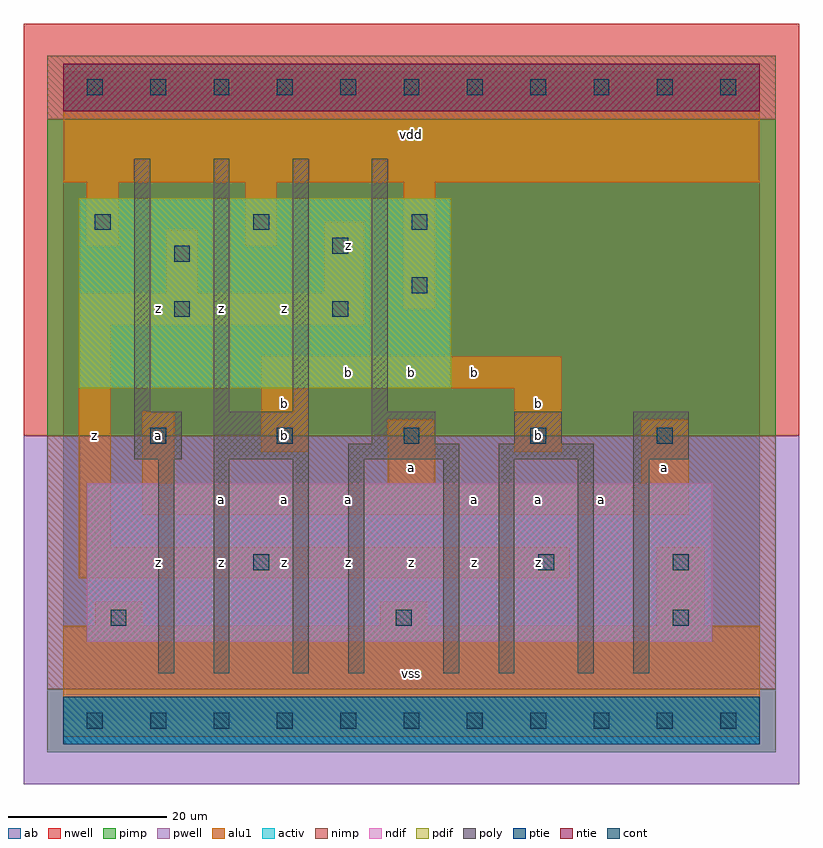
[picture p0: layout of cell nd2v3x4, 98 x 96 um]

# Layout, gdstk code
import gdstk
lib = gdstk.Library(unit=1e-6, precision=1e-09)
def R(c, l, rs):  # rectangles x0, y0, x1, y1
    for r in rs: c.add(gdstk.rectangle(r[:2], r[2:], *l))
def A(c, l, x, y, w, h, nx, ny, dx, dy):  # array of equal rectangles
    R(c, l, [(x+i*dx, y+j*dy, x+i*dx+w, y+j*dy+h) for i in range(nx) for j in range(ny)])
ndif = (3, 0)
pdif = (4, 0)
ntie = (5, 0)
ptie = (6, 0)
cont = (25, 0)
pwell = (41, 0)
nwell = (42, 0)
activ = (43, 0)
pimp = (44, 0)
nimp = (45, 0)
poly = (46, 0)
alu1 = (49, 0)
ab = (63, 0)

nd2v3x4 = lib.new_cell('nd2v3x4')
R(nd2v3x4, ndif, [(3,10,82,30)])
R(nd2v3x4, pdif, [(2,42,49,66)])
R(nd2v3x4, ntie, [(0,77,88,83)])
R(nd2v3x4, ptie, [(0,-3,88,3)])
A(nd2v3x4, cont, 3, -1, 2, 2, 11, 2, 8, 80)
A(nd2v3x4, cont, 11, 35, 2, 2, 5, 1, 16, 0)
A(nd2v3x4, cont, 4, 62, 2, 2, 3, 1, 20, 0)
R(nd2v3x4, cont, [(6,12,8,14), (42,12,44,14), (77,12,79,14), (24,19,26,21), (60,19,62,21), (77,19,79,21), (14,51,16,53), (34,51,36,53), (44,54,46,56), (14,58,16,60), (34,59,36,61)])
R(nd2v3x4, pwell, [(-5,-8,93,36)])
R(nd2v3x4, nwell, [(-5,36,93,88)])
R(nd2v3x4, activ, [(0,-3,88,3), (3,10,82,30), (2,42,49,66), (0,77,88,83)])
R(nd2v3x4, pimp, [(-2,-4,90,4), (-2,36,90,76)])
R(nd2v3x4, nimp, [(-2,4,90,36), (-2,76,90,84)])
A(nd2v3x4, poly, 9, 39, 2, 32, 4, 1, 10, 0)
R(nd2v3x4, poly, [(12,6,14,33), (19,6,21,33), (29,6,31,33), (36,6,38,33), (48,6,50,33), (55,6,57,33), (65,6,67,33), (72,6,74,33), (9,33,15,39), (19,33,31,39), (36,33,50,35), (55,33,67,35), (72,33,79,39), (39,35,47,39), (57,35,63,39)])
R(nd2v3x4, alu1, [(0,-2,88,12), (4,12,10,15), (40,12,46,15), (75,12,81,22), (2,18,64,22), (2,22,6,50), (10,26,79,30), (10,30,14,39), (41,30,47,38), (73,30,79,38), (25,34,31,42), (57,34,63,42), (25,42,63,46), (2,50,38,54), (43,52,47,68), (13,54,17,62), (33,54,38,63), (3,60,7,68), (23,60,27,68), (0,68,88,82)])
R(nd2v3x4, ab, [(0,0,88,80)])
nd2v3x4.add(gdstk.Label('z', (12,20), layer=49, texttype=0))
nd2v3x4.add(gdstk.Label('a', (12,36), layer=49, texttype=0))
nd2v3x4.add(gdstk.Label('z', (4,36), layer=49, texttype=0))
nd2v3x4.add(gdstk.Label('z', (12,52), layer=49, texttype=0))
nd2v3x4.add(gdstk.Label('z', (20,20), layer=49, texttype=0))
nd2v3x4.add(gdstk.Label('a', (20,28), layer=49, texttype=0))
nd2v3x4.add(gdstk.Label('z', (28,20), layer=49, texttype=0))
nd2v3x4.add(gdstk.Label('a', (28,28), layer=49, texttype=0))
nd2v3x4.add(gdstk.Label('b', (28,36), layer=49, texttype=0))
nd2v3x4.add(gdstk.Label('b', (28,40), layer=49, texttype=0))
nd2v3x4.add(gdstk.Label('z', (20,52), layer=49, texttype=0))
nd2v3x4.add(gdstk.Label('z', (28,52), layer=49, texttype=0))
nd2v3x4.add(gdstk.Label('vss', (44,6), layer=49, texttype=0))
nd2v3x4.add(gdstk.Label('z', (36,20), layer=49, texttype=0))
nd2v3x4.add(gdstk.Label('a', (36,28), layer=49, texttype=0))
nd2v3x4.add(gdstk.Label('z', (44,20), layer=49, texttype=0))
nd2v3x4.add(gdstk.Label('a', (44,32), layer=49, texttype=0))
nd2v3x4.add(gdstk.Label('b', (36,44), layer=49, texttype=0))
nd2v3x4.add(gdstk.Label('b', (44,44), layer=49, texttype=0))
nd2v3x4.add(gdstk.Label('z', (36,60), layer=49, texttype=0))
nd2v3x4.add(gdstk.Label('vdd', (44,74), layer=49, texttype=0))
nd2v3x4.add(gdstk.Label('z', (52,20), layer=49, texttype=0))
nd2v3x4.add(gdstk.Label('a', (52,28), layer=49, texttype=0))
nd2v3x4.add(gdstk.Label('z', (60,20), layer=49, texttype=0))
nd2v3x4.add(gdstk.Label('a', (60,28), layer=49, texttype=0))
nd2v3x4.add(gdstk.Label('a', (68,28), layer=49, texttype=0))
nd2v3x4.add(gdstk.Label('b', (52,44), layer=49, texttype=0))
nd2v3x4.add(gdstk.Label('b', (60,36), layer=49, texttype=0))
nd2v3x4.add(gdstk.Label('b', (60,40), layer=49, texttype=0))
nd2v3x4.add(gdstk.Label('a', (76,32), layer=49, texttype=0))

lib.write_gds('nd2v3x4.gds')
